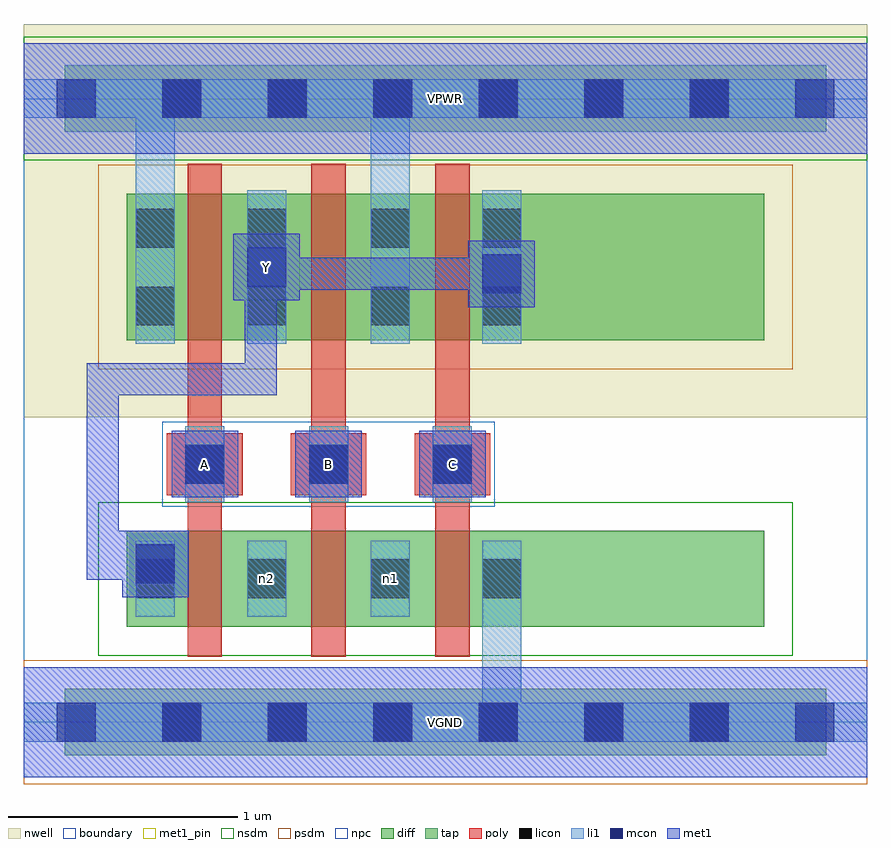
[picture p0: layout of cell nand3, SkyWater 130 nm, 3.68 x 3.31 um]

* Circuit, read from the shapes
.subckt nand3 A B C VGND VPWR Y n1 n2
XM1 n2 A Y VGND sky130_fd_pr__nfet_01v8 w=0.42 l=0.15
XM2 n1 B n2 VGND sky130_fd_pr__nfet_01v8 w=0.42 l=0.15
XM3 VGND C n1 VGND sky130_fd_pr__nfet_01v8 w=0.42 l=0.15
XM4 Y A VPWR VPWR sky130_fd_pr__pfet_01v8 w=0.64 l=0.15
XM5 VPWR B Y VPWR sky130_fd_pr__pfet_01v8 w=0.64 l=0.15
XM6 Y C VPWR VPWR sky130_fd_pr__pfet_01v8 w=0.64 l=0.15
.ends

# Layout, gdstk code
import gdstk
lib = gdstk.Library(unit=1e-6, precision=1e-09)
def R(c, l, rs):  # rectangles x0, y0, x1, y1
    for r in rs: c.add(gdstk.rectangle(r[:2], r[2:], *l))
def A(c, l, x, y, w, h, nx, ny, dx, dy):  # array of equal rectangles
    R(c, l, [(x+i*dx, y+j*dy, x+i*dx+w, y+j*dy+h) for i in range(nx) for j in range(ny)])
nwell = (64, 20)
diff = (65, 20)
tap = (65, 44)
poly = (66, 20)
licon = (66, 44)
li1 = (67, 20)
mcon = (67, 44)
met1_pin = (68, 16)
met1 = (68, 20)
nsdm = (93, 44)
psdm = (94, 20)
npc = (95, 20)
boundary = (235, 4)

nand3 = lib.new_cell('nand3')
R(nand3, nwell, [(0,1.33,3.68,3.045)])
R(nand3, diff, [(0.45,0.415,3.23,0.835), (0.45,1.665,3.23,2.305)])
R(nand3, tap, [(0.18,-0.145,3.5,0.145), (0.18,2.575,3.5,2.865)])
A(nand3, poly, 0.715, 0.285, 0.15, 2.15, 3, 1, 0.54, 0)
A(nand3, poly, 0.625, 0.99, 0.33, 0.27, 3, 1, 0.54, 0)
A(nand3, licon, 0.605, -0.085, 0.17, 0.17, 6, 2, 0.46, 2.72)
A(nand3, licon, 0.705, 1.04, 0.17, 0.17, 3, 1, 0.54, 0)
R(nand3, licon, [(0.49,0.54,0.66,0.71), (0.975,0.54,1.145,0.71), (1.515,0.54,1.685,0.71), (2,0.54,2.17,0.71), (0.49,1.73,0.66,1.9), (0.975,1.73,1.145,1.9), (1.515,1.73,1.685,1.9), (2,1.73,2.17,1.9), (0.49,2.07,0.66,2.24), (0.975,2.07,1.145,2.24), (1.515,2.07,1.685,2.24), (2,2.07,2.17,2.24)])
A(nand3, li1, 0.705, 0.96, 0.17, 0.33, 3, 1, 0.54, 0)
R(nand3, li1, [(0,-0.085,3.68,0.085), (2,-0.085,2.17,0.79), (0.49,0.46,0.66,0.79), (0.975,0.46,1.145,0.79), (1.515,0.46,1.685,0.79), (2,0.46,2.17,0.79), (0.49,1.65,0.66,2.32), (0.49,1.65,0.66,2.805), (0.975,1.65,1.145,2.32), (1.515,1.65,1.685,2.32), (1.515,1.65,1.685,2.805), (2,1.65,2.17,2.32), (0,2.635,3.68,2.805)])
A(nand3, mcon, 0.145, -0.085, 0.17, 0.17, 8, 2, 0.46, 2.72)
A(nand3, mcon, 0.705, 1.04, 0.17, 0.17, 3, 1, 0.54, 0)
R(nand3, mcon, [(0.49,0.605,0.66,0.775), (2,1.87,2.17,2.04), (0.975,1.9,1.145,2.07)])
A(nand3, met1_pin, 0.645, 0.98, 0.29, 0.29, 3, 1, 0.54, 0)
R(nand3, met1_pin, [(0,-0.24,3.68,0.24), (0.915,1.84,1.205,2.13), (0,2.48,3.68,2.96)])
A(nand3, met1, 0.645, 0.98, 0.29, 0.29, 3, 1, 0.54, 0)
R(nand3, met1, [(0,-0.24,3.68,0.24), (0.43,0.545,0.72,0.835), (0.275,0.62,0.415,1.565), (0.275,0.62,0.645,0.76), (0.415,0.62,0.43,0.835), (0.275,1.425,1.105,1.565), (0.965,1.425,1.105,2.025), (1.94,1.81,2.23,2.1), (0.915,1.84,1.205,2.13), (0.965,1.885,1.105,2.025), (0.965,1.885,2.025,2.025), (1.885,1.885,2.155,2.025), (0,2.48,3.68,2.96)])
R(nand3, nsdm, [(0.325,0.29,3.355,0.96), (0,2.45,3.68,2.99)])
R(nand3, psdm, [(0,-0.27,3.68,0.27), (0.325,1.54,3.355,2.43)])
R(nand3, npc, [(0.605,0.94,2.055,1.31)])
R(nand3, boundary, [(0,0,3.68,2.72)])
nand3.add(gdstk.Label('n2', (1.06,0.625), layer=67, texttype=5))
nand3.add(gdstk.Label('n1', (1.6,0.625), layer=67, texttype=5))
nand3.add(gdstk.Label('A', (0.79,1.125), layer=68, texttype=5))
nand3.add(gdstk.Label('B', (1.33,1.125), layer=68, texttype=5))
nand3.add(gdstk.Label('C', (1.87,1.125), layer=68, texttype=5))
nand3.add(gdstk.Label('Y', (1.06,1.985), layer=68, texttype=5))
nand3.add(gdstk.Label('VPWR', (1.84,2.72), layer=68, texttype=5))
nand3.add(gdstk.Label('VGND', (1.84,0), layer=68, texttype=5))
nand3.add(gdstk.Label('A', (0.79,1.125), layer=68, texttype=16))
nand3.add(gdstk.Label('B', (1.33,1.125), layer=68, texttype=16))
nand3.add(gdstk.Label('C', (1.87,1.125), layer=68, texttype=16))
nand3.add(gdstk.Label('Y', (1.06,1.985), layer=68, texttype=16))
nand3.add(gdstk.Label('VPWR', (1.84,2.72), layer=68, texttype=16))
nand3.add(gdstk.Label('VGND', (1.84,0), layer=68, texttype=16))

lib.write_gds('nand3.gds')
